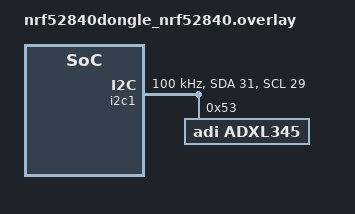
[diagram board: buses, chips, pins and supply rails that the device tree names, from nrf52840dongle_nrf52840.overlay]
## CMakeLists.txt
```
cmake_minimum_required(VERSION 3.8)

include($ENV{ZEPHYR_BASE}/cmake/app/boilerplate.cmake NO_POLICY_SCOPE)
project(ble_peripheral_acc)

target_sources(app PRIVATE
  src/main.c src/acc_service.c
)

zephyr_library_include_directories(.)
```

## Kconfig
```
source "$ZEPHYR_BASE/Kconfig.zephyr"
```

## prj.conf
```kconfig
CONFIG_BT=y
CONFIG_BT_DEBUG_LOG=y
CONFIG_BT_MAX_CONN=1
CONFIG_BT_L2CAP_TX_BUF_COUNT=5
CONFIG_BT_PERIPHERAL=y
CONFIG_BT_DEVICE_NAME="PERI_ACC"
CONFIG_BT_DEVICE_APPEARANCE=962

CONFIG_HEAP_MEM_POOL_SIZE=2048

# This example requires more workqueue stack
CONFIG_SYSTEM_WORKQUEUE_STACK_SIZE=2048

CONFIG_GPIO=y
CONFIG_I2C=y
CONFIG_SENSOR=y
CONFIG_ADXL345=y

# Enable DK LED and Buttons library
CONFIG_DK_LIBRARY=y

# ATT MTU and Data Length Extension
CONFIG_BT_L2CAP_TX_MTU=247      
CONFIG_BT_L2CAP_RX_MTU=247
CONFIG_BT_RX_BUF_LEN=255
CONFIG_BT_CTLR_TX_BUFFER_SIZE=251
CONFIG_BT_CTLR_DATA_LENGTH_MAX=251
CONFIG_BT_USER_DATA_LEN_UPDATE=y
```

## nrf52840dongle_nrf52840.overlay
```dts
&i2c1 {
    compatible = "nordic,nrf-twim";
    status = "okay";
    sda-pin = < 31 >;
    scl-pin = < 29 >;
    clock-frequency = <I2C_BITRATE_STANDARD>;  
	
    adxl345@53 {
	compatible = "adi,adxl345";
	reg = < 0x53 >;
	label = "ADXL345";
    };
};
```

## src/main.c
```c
#include <zephyr/types.h>
#include <stddef.h>
#include <string.h>
#include <stdio.h>
#include <errno.h>
#include <sys/printk.h>
#include <sys/byteorder.h>
#include <zephyr.h>
#include <drivers/gpio.h>
#include <soc.h>
#include <device.h>
#include <drivers/sensor.h>

#include <bluetooth/bluetooth.h>
#include <bluetooth/hci.h>
#include <bluetooth/conn.h>
#include <bluetooth/uuid.h>
#include <bluetooth/gatt.h>
#include <dk_buttons_and_leds.h>

#include "acc_service.h"

#define CON_STATUS_LED DK_LED2

#define DEVICE_NAME             CONFIG_BT_DEVICE_NAME
#define DEVICE_NAME_LEN         (sizeof(DEVICE_NAME) - 1)

static K_SEM_DEFINE(ble_init_ok, 0, 1);

static const struct bt_data ad[] = 
{
    BT_DATA_BYTES(BT_DATA_FLAGS, (BT_LE_AD_GENERAL | BT_LE_AD_NO_BREDR)),
    BT_DATA(BT_DATA_NAME_COMPLETE, DEVICE_NAME, DEVICE_NAME_LEN),
};

static const struct bt_data sd[] = 
{
    BT_DATA_BYTES(BT_DATA_UUID128_ALL, ACC_SERVICE_UUID),
};

struct bt_conn *ble_connection;

static void connected(struct bt_conn *conn, uint8_t err)
{
    struct bt_conn_info info; 
    char addr[BT_ADDR_LE_STR_LEN];

    ble_connection = conn;

    if (err) {
        printk("Connection failed (err %u)\n", err);
        return;
    } else if(bt_conn_get_info(conn, &info)) {
        printk("Could not parse connection info\n");
    }
    else {
        bt_addr_le_to_str(bt_conn_get_dst(conn), addr, sizeof(addr));
        dk_set_led_on(CON_STATUS_LED);
        
        printk("Connection established!        \n\
        Connected to: %s                    \n\
        Role: %u                            \n\
        Connection interval: %u                \n\
        Slave latency: %u                    \n\
        Connection supervisory timeout: %u    \n"
        , addr, info.role, info.le.interval, info.le.latency, info.le.timeout);
    }
}

static void disconnected(struct bt_conn *conn, uint8_t reason)
{
    dk_set_led_off(CON_STATUS_LED);
    printk("Disconnected (reason %u)\n", reason);
}


static bool le_param_req(struct bt_conn *conn, struct bt_le_conn_param *param)
{
    //If acceptable params, return true, otherwise return false.
    return true; 
}

static void le_param_updated(struct bt_conn *conn, uint16_t interval, uint16_t latency, uint16_t timeout)
{
    struct bt_conn_info info; 
    char addr[BT_ADDR_LE_STR_LEN];
    
    if(bt_conn_get_info(conn, &info))
    {
        printk("Could not parse connection info\n");
    }
    else
    {
        bt_addr_le_to_str(bt_conn_get_dst(conn), addr, sizeof(addr));
        
        printk("Connection parameters updated!    \n\
        Connected to: %s                        \n\
        New Connection Interval: %u                \n\
        New Slave Latency: %u                    \n\
        New Connection Supervisory Timeout: %u    \n"
        , addr, info.le.interval, info.le.latency, info.le.timeout);
    }
}

static struct bt_conn_cb conn_callbacks = 
{
    .connected        = connected,
    .disconnected     = disconnected,
    .le_param_req     = le_param_req,
    .le_param_updated = le_param_updated,
};

static void bt_ready(int err)
{
    if (err) 
    {
        printk("BLE init failed with error code %d\n", err);
        return;
    }

    //Configure connection callbacks
    bt_conn_cb_register(&conn_callbacks);

    //Initalize services
    err = acc_service_init();

    if (err) 
    {
        printk("Failed to init LBS (err:%d)\n", err);
        return;
    }

    //Start advertising
    err = bt_le_adv_start(BT_LE_ADV_CONN, ad, ARRAY_SIZE(ad),
                  sd, ARRAY_SIZE(sd));
    if (err) 
    {
        printk("Advertising failed to start (err %d)\n", err);
        return;
    }

    printk("Advertising successfully started\n");

    k_sem_give(&ble_init_ok);
}


static void error(uint8_t code)
{
    while (true) {
        printk("Error!\n");
        if (code > 0) {
            uint16_t data = 1000 + code;
            acc_service_send(ble_connection, (uint8_t*) &data, 2);
        }
        /* Spin for ever */
        k_sleep(K_MSEC(1000)); //1000ms
    }
}

void main(void)
{
    int err = 0;
    err = dk_leds_init();
    if (err) {
        printk("Cannot init LEDs (err: %d)", err);
        error(0);
    }

    printk("Starting Nordic BLE peripheral tutorial\n");
    
    err = bt_enable(bt_ready);
    if (err) {
        printk("BLE initialization failed\n");
        error(0); //Catch error
    }
    
    /**  
      Bluetooth stack should be ready in less than 100 msec.
      We use this semaphore to wait for bt_enable to call bt_ready before we proceed 
      to the main loop. By using the semaphore to block execution we allow the RTOS to
      execute other tasks while we wait. 
    **/   
 
    err = k_sem_take(&ble_init_ok, K_MSEC(500));

    if (!err) {
        printk("Bluetooth initialized\n");
    } else {
        printk("BLE initialization did not complete in time\n");
        error(0);
    }

    err = acc_service_init();

   const struct device *dev = device_get_binding(DT_LABEL(DT_INST(0, adi_adxl345)));
   if (dev == NULL) {
       printk("Device get binding device\n");
       error(1);
   }

    struct sensor_value accel[3];
    uint16_t data[75];
    const uint8_t len = 150;
    int idx = 0;

    for (;;) {
        int samples_count = sensor_sample_fetch(dev);
        if ( samples_count < 0 ) {
            printk("Sample fetch error\n");
            error(2); 
        }

        for (int i = 0; i < samples_count; i++) {
            if (sensor_channel_get(dev, SENSOR_CHAN_ACCEL_XYZ, accel) < 0) {
                printk("Channel get error\n");
                error(3); 
            }
            data[idx]   = accel[0].val1;
            data[idx+1] = accel[1].val1;
            data[idx+2] = accel[2].val1;
            idx += 3;
            if (idx > 75) {
                acc_service_send(ble_connection, (uint8_t *) data, len); 
                idx = 0;
            }
        }
        //k_sleep(K_MSEC(1000));
    }
}
```

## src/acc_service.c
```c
#include <zephyr/types.h>
#include <stddef.h>
#include <string.h>
#include <errno.h>
#include <sys/printk.h>
#include <sys/byteorder.h>
#include <zephyr.h>
#include <soc.h>

#include <bluetooth/bluetooth.h>
#include <bluetooth/hci.h>
#include <bluetooth/conn.h>
#include <bluetooth/uuid.h>
#include <bluetooth/addr.h>
#include <bluetooth/gatt.h>

#include "acc_service.h"

#define BT_UUID_ACC_SERVICE      BT_UUID_DECLARE_128(ACC_SERVICE_UUID)
#define BT_UUID_ACC_SERVICE_RX   BT_UUID_DECLARE_128(RX_CHAR_UUID)
#define BT_UUID_ACC_SERVICE_TX   BT_UUID_DECLARE_128(TX_CHAR_UUID)

#define MAX_TRANSMIT_SIZE 240//TODO figure this out

uint8_t data_rx[MAX_TRANSMIT_SIZE];
uint8_t data_tx[MAX_TRANSMIT_SIZE];

int acc_service_init(void)
{
    int err = 0;

    memset(&data_rx, 0, MAX_TRANSMIT_SIZE);
    memset(&data_tx, 0, MAX_TRANSMIT_SIZE);

    return err;
}

/* This function is called whenever the RX Characteristic has been written to by a Client */
static ssize_t on_receive(struct bt_conn *conn,
			  const struct bt_gatt_attr *attr,
			  const void *buf,
			  uint16_t len,
			  uint16_t offset,
			  uint8_t flags)
{
    const uint8_t * buffer = buf;
    
	printk("Received data, handle %d, conn %p, data: 0x", attr->handle, conn);
    for(uint8_t i = 0; i < len; i++){
        printk("%02X", buffer[i]);
    }
    printk("\n");

	return len;
}

/* This function is called whenever a Notification has been sent by the TX Characteristic */
static void on_sent(struct bt_conn *conn, void *user_data)
{
	ARG_UNUSED(user_data);

    const bt_addr_le_t * addr = bt_conn_get_dst(conn);
        
	printk("Data sent to Address 0x %02X %02X %02X %02X %02X %02X \n", addr->a.val[0]
                                                                    , addr->a.val[1]
                                                                    , addr->a.val[2]
                                                                    , addr->a.val[3]
                                                                    , addr->a.val[4]
                                                                    , addr->a.val[5]);
}

/* This function is called whenever the CCCD register has been changed by the client*/
void on_cccd_changed(const struct bt_gatt_attr *attr, uint16_t value)
{
    ARG_UNUSED(attr);
    switch(value)
    {
        case BT_GATT_CCC_NOTIFY: 
            // Start sending stuff!
            break;

        case BT_GATT_CCC_INDICATE: 
            // Start sending stuff via indications
            break;

        case 0: 
            // Stop sending stuff
            break;
        
        default: 
            printk("Error, CCCD has been set to an invalid value");     
    }
}
                        

/* LED Button Service Declaration and Registration */
BT_GATT_SERVICE_DEFINE(acc_service,
BT_GATT_PRIMARY_SERVICE(BT_UUID_ACC_SERVICE),
BT_GATT_CHARACTERISTIC(BT_UUID_ACC_SERVICE_RX,
			       BT_GATT_CHRC_WRITE | BT_GATT_CHRC_WRITE_WITHOUT_RESP,
			       BT_GATT_PERM_READ | BT_GATT_PERM_WRITE, 
                   NULL, on_receive, NULL),
BT_GATT_CHARACTERISTIC(BT_UUID_ACC_SERVICE_TX,
			       BT_GATT_CHRC_NOTIFY,
			       BT_GATT_PERM_READ,
                   NULL, NULL, NULL),
BT_GATT_CCC(on_cccd_changed,
        BT_GATT_PERM_READ | BT_GATT_PERM_WRITE),
);

/* This function sends a notification to a Client with the provided data,
given that the Client Characteristic Control Descripter has been set to Notify (0x1).
It also calls the on_sent() callback if successful*/
void acc_service_send(struct bt_conn *conn, const uint8_t *data, uint16_t len)
{
    /* 
    The attribute for the TX characteristic is used with bt_gatt_is_subscribed 
    to check whether notification has been enabled by the peer or not.
    Attribute table: 0 = Service, 1 = Primary service, 2 = RX, 3 = TX, 4 = CCC.
    */
    const struct bt_gatt_attr *attr = &acc_service.attrs[3]; 

    struct bt_gatt_notify_params params = {
        .uuid   = BT_UUID_ACC_SERVICE_TX,
        .attr   = attr,
        .data   = data,
        .len    = len,
        .func   = on_sent
    };

    // Check whether notifications are enabled or not
    if(bt_gatt_is_subscribed(conn, attr, BT_GATT_CCC_NOTIFY)) {
        // Send the notification
	if(bt_gatt_notify_cb(conn, &params)) {
            printk("Error, unable to send notification\n");
        }
    } else {
        printk("Warning, notification not enabled on the selected attribute\n");
    }
}
```

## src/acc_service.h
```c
#include <zephyr/types.h>
#include <stddef.h>
#include <string.h>
#include <errno.h>
#include <zephyr.h>
#include <soc.h>

#include <bluetooth/bluetooth.h>
#include <bluetooth/hci.h>
#include <bluetooth/conn.h>
#include <bluetooth/uuid.h>
#include <bluetooth/gatt.h>

#define ACC_SERVICE_UUID 0xd4, 0x86, 0x48, 0x24, 0x54, 0xB3, 0x43, 0xA1, \
			            0xBC, 0x20, 0x97, 0x8F, 0xC3, 0x76, 0xC2, 0x75

#define RX_CHAR_UUID  0xA6, 0xE8, 0xC4, 0x60, 0x7E, 0xAA, 0x41, 0x6B, \
			                    0x95, 0xD4, 0x9D, 0xCC, 0x08, 0x4F, 0xCF, 0x6A

#define TX_CHAR_UUID  0xED, 0xAA, 0x20, 0x11, 0x92, 0xE7, 0x43, 0x5A, \
			                    0xAA, 0xE9, 0x94, 0x43, 0x35, 0x6A, 0xD4, 0xD3

/** @brief Callback type for when new data is received. */
typedef void (*data_rx_cb_t)(uint8_t *data, uint8_t length);

/** @brief Callback struct used by the acc_service Service. */
struct acc_service_cb 
{
	/** Data received callback. */
	data_rx_cb_t    data_rx_cb;
};

int acc_service_init(void);

void acc_service_send(struct bt_conn *conn, const uint8_t *data, uint16_t len);
```
